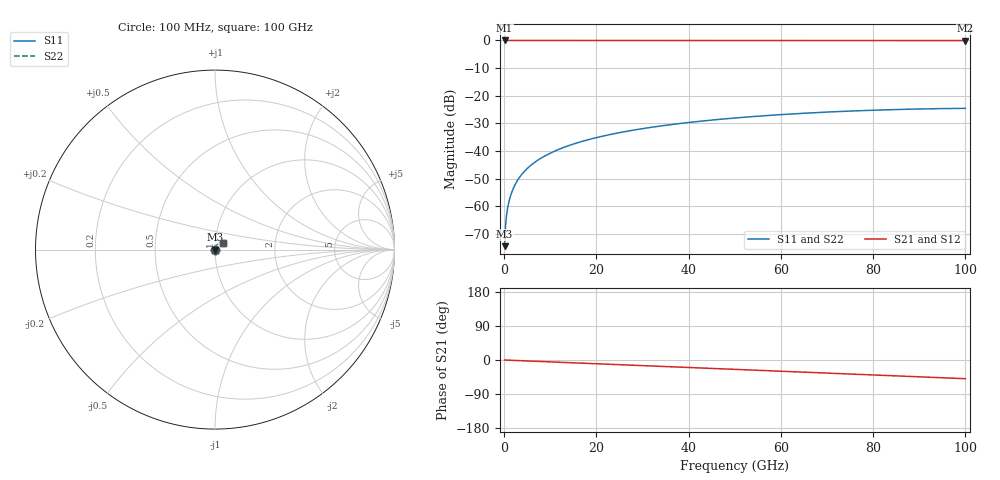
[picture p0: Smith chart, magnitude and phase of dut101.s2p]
! Touchstone file exported from HFSS 2026.1.0
!  File:  C:/ffzhzh/LocalFiles/Ansys_Project_Files/temp_train_TSV_101_1783505767_31944.aedt
!  Generated:  06:17:32 PM Jul  8, 2026
!  Design:  TSV
!  Project:  temp_train_TSV_101_1783505767_31944
! Variables:
!  h_bsmrdl = 2um
!  h_ox = 20um
!  h_rdl = 5um
!  h_sub = 99.9um
!  h_tmrdl = 5um
!  h_tsv = 99.9um
!  h_via = 3um
!  l_bsmrdl = 300um
!  l_sub = 421.68um
!  l_tmrdl = 200um
!  m_sub = 200um
!  pitch = 49.36um
!  r_tsv = 10.84um
!  s_tmrdl = 10um
!  w_bsmrdl = 18um
!  w_sub = 500um
!  w_tmrdl = 12um
!  x_tsv_center1 = 206um
!  x_tsv_center2 = 524um
!  x_tsv_center3 = 736um
!  x_tsv_center4 = 1054um
!  x_tsv_center5 = 1266um
!  x_tsv_center6 = 1584um
# GHz S MA R 50.000000
! Terminal data exported
! Port[1] = TSV1_1_T1
! Port[2] = TSV1_1_T2
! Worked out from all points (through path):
!   1000 points, 100 MHz to 100 GHz, reference 50 ohm
!   highest |S21| = 0.00 dB at 100 MHz (marker M1); lowest = 0.0 dB at 100 GHz (marker M2)
!   group delay of S21, straight-line fit = 1.37 ps
!   lowest |S11| = -74.4 dB at 100 MHz (marker M3), VSWR 1.00, Z = 50 + j0.0138 ohm
!   |S11| at or under -10 dB: start of sweep to end of sweep
!   |S22| runs from -74.4 to -24.6 dB; largest |S21 - S12| = 5.2e-15
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0.1  0.0001907 46.1  0.9999 -0.1  0.9999 -0.1  0.0001907 46.1
! Gamma 0 0 0 0
! Port Impedance 50 0 50 0
0.4  0.0005511 69.2  0.9998 -0.2  0.9998 -0.2  0.0005511 69.2
0.7  0.0008781 72.0  0.9997 -0.4  0.9997 -0.4  0.0008781 72.0
0.8  0.0009797 72.6  0.9997 -0.4  0.9997 -0.4  0.0009797 72.6
1  0.001177 73.6  0.9997 -0.5  0.9997 -0.5  0.001177 73.6
1.3  0.001466 74.9  0.9996 -0.7  0.9996 -0.7  0.001466 74.9
1.8  0.00194 76.4  0.9996 -0.9  0.9996 -0.9  0.00194 76.4
2.4  0.002499 77.4  0.9995 -1.2  0.9995 -1.2  0.002499 77.4
3.1  0.00314 78.1  0.9994 -1.6  0.9994 -1.6  0.00314 78.1
3.9  0.00386 78.6  0.9994 -1.9  0.9994 -1.9  0.00386 78.6
4.9  0.004746 79.0  0.9993 -2.4  0.9993 -2.4  0.004746 79.0
6.1  0.005799 79.1  0.9992 -3.0  0.9992 -3.0  0.005799 79.1
8.9  0.008226 78.9  0.999 -4.4  0.999 -4.4  0.008226 78.9
12.4  0.01121 78.0  0.9988 -6.1  0.9988 -6.1  0.01121 78.0
16.8  0.01488 76.5  0.9986 -8.3  0.9986 -8.3  0.01488 76.5
24.2  0.02089 73.7  0.9982 -12.0  0.9982 -12.0  0.02089 73.7
33.4  0.02803 69.8  0.9977 -16.5  0.9977 -16.5  0.02803 69.8
41.3  0.03378 66.2  0.9973 -20.4  0.9973 -20.4  0.03378 66.2
50.1  0.03968 62.1  0.9969 -24.7  0.9969 -24.7  0.03968 62.1
66.7  0.04912 54.3  0.9961 -32.9  0.9961 -32.9  0.04912 54.3
83.4  0.0559 46.3  0.9954 -41.1  0.9954 -41.1  0.0559 46.3
100  0.0592 38.3  0.9947 -49.3  0.9947 -49.3  0.0592 38.3
